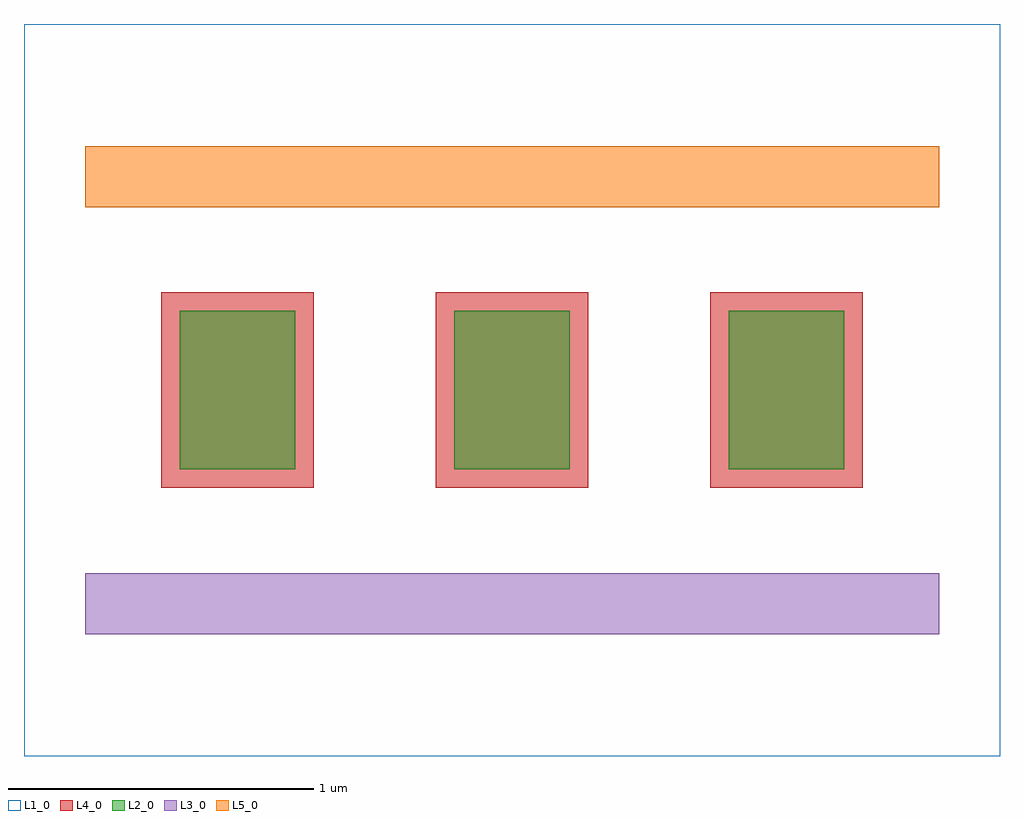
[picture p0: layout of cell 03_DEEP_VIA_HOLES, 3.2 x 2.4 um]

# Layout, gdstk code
import gdstk
lib = gdstk.Library(unit=1e-6, precision=1e-09)
def R(c, l, rs):  # rectangles x0, y0, x1, y1
    for r in rs: c.add(gdstk.rectangle(r[:2], r[2:], *l))
def A(c, l, x, y, w, h, nx, ny, dx, dy):  # array of equal rectangles
    R(c, l, [(x+i*dx, y+j*dy, x+i*dx+w, y+j*dy+h) for i in range(nx) for j in range(ny)])
L1_0 = (1, 0)
L2_0 = (2, 0)
L3_0 = (3, 0)
L4_0 = (4, 0)
L5_0 = (5, 0)

c_03_deep_via_holes = lib.new_cell('03_DEEP_VIA_HOLES')
R(c_03_deep_via_holes, L1_0, [(-1.6,-1.2,1.6,1.2)])
A(c_03_deep_via_holes, L2_0, -1.09, -0.26, 0.38, 0.52, 3, 1, 0.9, 0)
A(c_03_deep_via_holes, L4_0, -1.15, -0.32, 0.5, 0.64, 3, 1, 0.9, 0)
c_03_deep_via_holes.add(gdstk.FlexPath([(-1.4,-0.7),(1.4,-0.7)], 0.2, ends="flush", simple_path=True, layer=3, datatype=0))  # L3_0
c_03_deep_via_holes.add(gdstk.FlexPath([(-1.4,0.7),(1.4,0.7)], 0.2, ends="flush", simple_path=True, layer=5, datatype=0))  # L5_0

lib.write_gds('03_DEEP_VIA_HOLES.gds')
